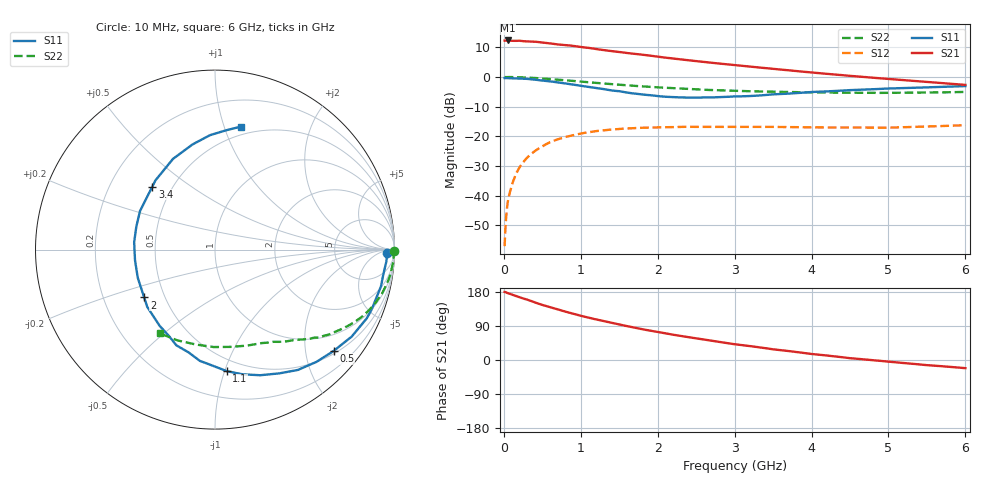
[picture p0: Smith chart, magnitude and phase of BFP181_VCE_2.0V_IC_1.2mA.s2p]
! Infineon Technologies  Discrete & RF Semiconductors
! BFP181
! VCE = 2.0 V,  IC =  1.2 mA
! Common Emitter S-Parameters:  Jan 2016
# GHz  S  MA  R  50
!  f  S11  S21  S12  S22
! GHz  MAG  ANG  MAG  ANG  MAG  ANG  MAG  ANG
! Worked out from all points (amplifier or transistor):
!   210 points, 10 MHz to 6 GHz, reference 50 ohm
!   highest |S21| = 12.3 dB at 50 MHz (marker M1)
!   |S21| within 3 dB of that: start of sweep to 1.228 GHz
!   unconditionally stable (mu >= 1): 2.849 GHz to end of sweep
!   at 185 MHz: K = 0.07, MSG = 21.8 dB, |S12| = -31.4 dB
!   at 1.52 GHz: K = 0.57, MSG = 12.9 dB, |S12| = -17.5 dB
!   at 6 GHz: K = 1.26, MAG = 3.7 dB, |S12| = -16.3 dB
!   S11 on the Smith chart (normalised r, x): 10 MHz: 40, -17; 500 MHz: 0.56, -2.60; 1.1 GHz: 0.40, -1.02; 2 GHz: 0.38, -0.26; 3.4 GHz: 0.39, +0.36; 6 GHz: 0.42, +1.14
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0.01  0.9584 -1.0  4.098 179.6  0.0014 88.8  0.9982 -0.3
0.025  0.9589 -2.0  4.091 178.7  0.0035 89.1  0.9921 -0.9
0.05  0.9568 -4.1  4.124 176.5  0.0076 89.4  0.9959 -1.9
0.12  0.947 -10.1  4.063 171.6  0.0173 82.6  0.994 -4.5
0.195  0.9386 -16.1  4.079 166.3  0.0285 80.1  0.9881 -7.4
0.4  0.9026 -32.5  3.941 152.1  0.0559 69.5  0.9621 -14.8
0.5  0.8694 -40.5  3.823 145.3  0.0675 64.0  0.9431 -18.2
0.8  0.7773 -62.5  3.46 127.6  0.0971 51.0  0.8799 -27.0
0.9  0.7439 -70.2  3.346 121.9  0.1043 47.2  0.8563 -29.6
1.02  0.7042 -78.9  3.178 115.8  0.1122 42.9  0.8296 -32.4
1.1  0.6804 -84.5  3.099 111.5  0.1169 40.4  0.8124 -34.2
1.5  0.5751 -112.0  2.646 93.6  0.1329 29.4  0.7389 -41.6
1.8  0.5046 -133.2  2.373 81.1  0.139 23.4  0.6929 -46.3
2  0.476 -145.9  2.195 73.9  0.1416 19.8  0.6678 -49.1
2.02  0.473 -147.3  2.179 73.2  0.1418 19.5  0.6657 -49.4
2.42  0.4489 -173.7  1.901 59.6  0.1442 13.5  0.6254 -55.3
3.1  0.4717 148.1  1.541 39.2  0.1436 7.0  0.5776 -65.0
3.4  0.4954 134.8  1.41 31.2  0.1436 5.4  0.5671 -69.7
4.1  0.5633 112.1  1.159 13.9  0.141 2.4  0.5467 -82.5
4.5  0.5994 102.0  1.044 4.8  0.14 1.5  0.543 -90.8
5.1  0.6431 90.9  0.903 -6.2  0.1407 2.5  0.5394 -103.6
6  0.7009 78.0  0.735 -21.5  0.1537 3.3  0.5589 -123.4
